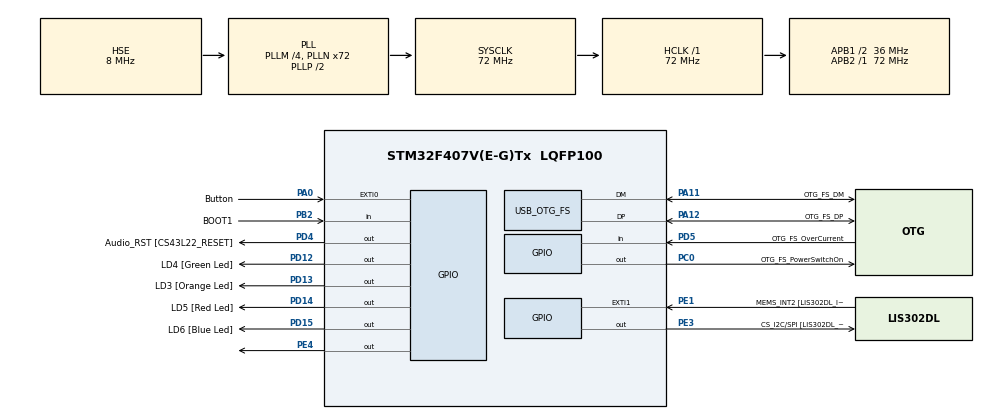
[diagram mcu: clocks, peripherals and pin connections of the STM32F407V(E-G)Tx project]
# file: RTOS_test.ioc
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FREERTOS.Tasks01=defaultTask,24,128,StartDefaultTask,Default,NULL,Dynamic,NULL,NULL;USB,8,128,StartTask02,Default,NULL,Dynamic,NULL,NULL
Mcu.Family=STM32F4
Mcu.Name=STM32F407V(E-G)Tx
Mcu.Package=LQFP100
NVIC.EXTI0_IRQn=true\:0\:0\:false\:false\:true\:false\:true\:true
NVIC.OTG_FS_IRQn=true\:0\:0\:false\:false\:true\:false\:false\:true
NVIC.PriorityGroup=NVIC_PRIORITYGROUP_4
NVIC.TIM6_DAC_IRQn=true\:0\:0\:false\:false\:true\:false\:false\:true
NVIC.TimeBase=TIM6_DAC_IRQn
NVIC.TimeBaseIP=TIM6
PA0-WKUP.GPIO_Label=Button
PA0-WKUP.GPIO_ModeDefaultEXTI=GPIO_MODE_IT_RISING_FALLING
PA0-WKUP.Signal=GPXTI0
PA10.GPIO_Label=OTG_FS_ID
PA10.GPIO_Mode=GPIO_MODE_AF_PP
PA10.GPIO_PuPd=GPIO_NOPULL
PA10.GPIO_Speed=GPIO_SPEED_FREQ_LOW
PA10.Signal=USB_OTG_FS_ID
PA11.GPIO_Label=OTG_FS_DM
PA11.GPIO_Mode=GPIO_MODE_AF_PP
PA11.GPIO_PuPd=GPIO_NOPULL
PA11.GPIO_Speed=GPIO_SPEED_FREQ_LOW
PA11.Mode=Device_Only
PA11.Signal=USB_OTG_FS_DM
PA12.GPIO_Label=OTG_FS_DP
PA12.GPIO_Mode=GPIO_MODE_AF_PP
PA12.GPIO_PuPd=GPIO_NOPULL
PA12.GPIO_Speed=GPIO_SPEED_FREQ_LOW
PA12.Mode=Device_Only
PA12.Signal=USB_OTG_FS_DP
PA13.GPIO_Label=SWDIO
PA13.Signal=SYS_JTMS-SWDIO
PA14.GPIO_Label=SWCLK
PA14.Signal=SYS_JTCK-SWCLK
PA4.GPIO_Label=I2S3_WS [CS43L22_LRCK]
PA4.GPIO_Mode=GPIO_MODE_AF_PP
PA4.GPIO_PuPd=GPIO_NOPULL
PA4.GPIO_Speed=GPIO_SPEED_FREQ_LOW
PA4.Signal=I2S3_WS
PA5.GPIO_Label=SPI1_SCK [LIS302DL_SCL/SPC]
PA5.GPIO_Mode=GPIO_MODE_AF_PP
PA5.GPIO_PuPd=GPIO_NOPULL
PA5.GPIO_Speed=GPIO_SPEED_FREQ_LOW
PA5.Signal=SPI1_SCK
PA6.GPIO_Label=SPI1_MISO [LIS302DL_SDO]
PA6.GPIO_Mode=GPIO_MODE_AF_PP
PA6.GPIO_PuPd=GPIO_NOPULL
PA6.GPIO_Speed=GPIO_SPEED_FREQ_LOW
PA6.Signal=SPI1_MISO
PA7.GPIO_Label=SPI1_MOSI [LIS302DL_SDA/SDI/SDO]
PA7.GPIO_Mode=GPIO_MODE_AF_PP
PA7.GPIO_PuPd=GPIO_NOPULL
PA7.GPIO_Speed=GPIO_SPEED_FREQ_LOW
PA7.Signal=SPI1_MOSI
PA9.GPIO_Label=VBUS_FS
PA9.GPIO_Mode=GPIO_MODE_INPUT
PA9.GPIO_PuPd=GPIO_NOPULL
PA9.Signal=USB_OTG_FS_VBUS
PB10.GPIO_Label=CLK_IN [MP45DT02_CLK]
PB10.GPIO_Mode=GPIO_MODE_AF_PP
PB10.GPIO_PuPd=GPIO_NOPULL
PB10.GPIO_Speed=GPIO_SPEED_FREQ_LOW
PB10.Signal=I2S2_CK
PB2.GPIO_Label=BOOT1
PB2.GPIO_Mode=GPIO_MODE_INPUT
PB2.GPIO_PuPd=GPIO_NOPULL
PB2.Signal=GPIO_Input
PB3.GPIO_Label=SWO
PB3.Signal=SYS_JTDO-SWO
PB6.GPIO_Label=Audio_SCL [CS43L22_SCL]
PB6.GPIO_Mode=GPIO_MODE_AF_OD
PB6.GPIO_PuPd=GPIO_NOPULL
PB6.GPIO_Speed=GPIO_SPEED_FREQ_LOW
PB6.Signal=I2C1_SCL
PB9.GPIO_Label=Audio_SDA [CS43L22_SDA]
PB9.GPIO_Mode=GPIO_MODE_AF_OD
PB9.GPIO_PuPd=GPIO_NOPULL
PB9.GPIO_Speed=GPIO_SPEED_FREQ_LOW
PB9.Signal=I2C1_SDA
PC0.GPIO_Label=OTG_FS_PowerSwitchOn
PC0.GPIO_PuPd=GPIO_NOPULL
PC0.GPIO_Speed=GPIO_SPEED_FREQ_LOW
PC0.PinState=GPIO_PIN_SET
PC0.Signal=GPIO_Output
PC10.GPIO_Label=I2S3_SCK [CS43L22_SCLK]
PC10.GPIO_Mode=GPIO_MODE_AF_PP
PC10.GPIO_PuPd=GPIO_NOPULL
PC10.GPIO_Speed=GPIO_SPEED_FREQ_LOW
PC10.Signal=I2S3_CK
PC12.GPIO_Label=I2S3_SD [CS43L22_SDIN]
PC12.GPIO_Mode=GPIO_MODE_AF_PP
PC12.GPIO_PuPd=GPIO_NOPULL
PC12.GPIO_Speed=GPIO_SPEED_FREQ_LOW
PC12.Signal=I2S3_SD
PC14-OSC32_IN.GPIO_Label=PC14-OSC32_IN
PC14-OSC32_IN.Signal=RCC_OSC32_IN
PC15-OSC32_OUT.GPIO_Label=PC15-OSC32_OUT
PC15-OSC32_OUT.Signal=RCC_OSC32_OUT
PC3.GPIO_Label=PDM_OUT [MP45DT02_DOUT]
PC3.GPIO_Mode=GPIO_MODE_AF_PP
PC3.GPIO_PuPd=GPIO_NOPULL
PC3.GPIO_Speed=GPIO_SPEED_FREQ_LOW
PC3.Signal=I2S2_SD
PC7.GPIO_Label=I2S3_MCK [CS43L22_MCLK]
PC7.GPIO_Mode=GPIO_MODE_AF_PP
PC7.GPIO_PuPd=GPIO_NOPULL
PC7.GPIO_Speed=GPIO_SPEED_FREQ_LOW
PC7.Signal=I2S3_MCK
PD12.GPIO_Label=LD4 [Green Led]
PD12.GPIO_PuPd=GPIO_NOPULL
PD12.GPIO_Speed=GPIO_SPEED_FREQ_LOW
PD12.Signal=GPIO_Output
PD13.GPIO_Label=LD3 [Orange Led]
PD13.GPIO_PuPd=GPIO_NOPULL
PD13.GPIO_Speed=GPIO_SPEED_FREQ_LOW
PD13.Signal=GPIO_Output
PD14.GPIO_Label=LD5 [Red Led]
PD14.GPIO_PuPd=GPIO_NOPULL
PD14.GPIO_Speed=GPIO_SPEED_FREQ_LOW
PD14.Signal=GPIO_Output
PD15.GPIO_Label=LD6 [Blue Led]
PD15.GPIO_PuPd=GPIO_NOPULL
PD15.GPIO_Speed=GPIO_SPEED_FREQ_LOW
PD15.Signal=GPIO_Output
PD4.GPIO_Label=Audio_RST [CS43L22_RESET]
PD4.GPIO_PuPd=GPIO_NOPULL
PD4.GPIO_Speed=GPIO_SPEED_FREQ_LOW
PD4.Signal=GPIO_Output
PD5.GPIO_Label=OTG_FS_OverCurrent
PD5.GPIO_Mode=GPIO_MODE_INPUT
PD5.GPIO_PuPd=GPIO_NOPULL
PD5.Signal=GPIO_Input
PE1.GPIO_Label=MEMS_INT2 [LIS302DL_INT2]
PE1.GPIO_ModeDefaultEXTI=GPIO_MODE_EVT_RISING
PE1.GPIO_PuPd=GPIO_NOPULL
PE1.Signal=GPXTI1
PE3.GPIO_Label=CS_I2C/SPI [LIS302DL_CS_I2C/SPI]
PE3.GPIO_PuPd=GPIO_NOPULL
PE3.GPIO_Speed=GPIO_SPEED_FREQ_LOW
PE3.Signal=GPIO_Output
PE4.Signal=GPIO_Output
PH0-OSC_IN.GPIO_Label=PH0-OSC_IN
PH0-OSC_IN.Mode=HSE-External-Oscillator
PH0-OSC_IN.Signal=RCC_OSC_IN
PH1-OSC_OUT.GPIO_Label=PH1-OSC_OUT
PH1-OSC_OUT.Mode=HSE-External-Oscillator
PH1-OSC_OUT.Signal=RCC_OSC_OUT
ProjectManager.HeapSize=0x200
ProjectManager.StackSize=0x400
ProjectManager.TargetToolchain=STM32CubeIDE
RCC.48MHZClocksFreq_Value=48000000
RCC.AHBFreq_Value=72000000
RCC.APB1CLKDivider=RCC_HCLK_DIV2
RCC.APB1Freq_Value=36000000
RCC.APB1TimFreq_Value=72000000
RCC.APB2Freq_Value=72000000
RCC.APB2TimFreq_Value=72000000
RCC.CortexFreq_Value=72000000
RCC.HCLKFreq_Value=72000000
RCC.HSE_VALUE=8000000
RCC.HSI_VALUE=16000000
RCC.LSE_VALUE=32768
RCC.PLLM=4
RCC.PLLN=72
RCC.PLLQ=3
RCC.SYSCLKFreq_VALUE=72000000
RCC.SYSCLKSource=RCC_SYSCLKSOURCE_PLLCLK
RCC.VCOOutputFreq_Value=144000000
USB_DEVICE.CLASS_NAME_FS=CDC
USB_DEVICE.VirtualMode-CDC_FS=Cdc
USB_DEVICE.VirtualModeFS=Cdc_FS
USB_OTG_FS.VirtualMode=Device_Only
VP_FREERTOS_VS_CMSIS_V2.Mode=CMSIS_V2
VP_SYS_VS_tim6.Mode=TIM6
VP_USB_DEVICE_VS_USB_DEVICE_CDC_FS.Mode=CDC_FS
board=STM32F407G-DISC1

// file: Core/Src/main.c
/* USER CODE BEGIN Header */
/**
  ******************************************************************************
  * @file           : main.c
  * @brief          : Main program body
  ******************************************************************************
  * @attention
  *
  * <h2><center>&copy; Copyright (c) 2020 STMicroelectronics.
  * All rights reserved.</center></h2>
  *
  * This software component is licensed by ST under BSD 3-Clause license,
  * the "License"; You may not use this file except in compliance with the
  * License. You may obtain a copy of the License at:
  *                        opensource.org/licenses/BSD-3-Clause
  *
  ******************************************************************************
  */
/* USER CODE END Header */
#include "main.h"
#include "cmsis_os.h"
#include "usb_device.h"
#include "gpio.h"

/* USER CODE BEGIN Includes */
#include "usbd_cdc_if.h"

/* USER CODE END Includes */

/* USER CODE BEGIN PV */
uint8_t DataToSend[40]; // Tablica zawierajaca dane do wyslania
uint8_t MessageCounter = 0; // Licznik wyslanych wiadomosci
uint8_t MessageLength = 0; // Zawiera dlugosc wysylanej wiadomosci

uint8_t ReceivedData[40]; // Tablica przechowujaca odebrane dane
uint8_t ReceivedDataFlag = 0; // Flaga informujaca o odebraniu danych
/* USER CODE END PV */

void SystemClock_Config(void);
void MX_FREERTOS_Init(void);
/* USER CODE BEGIN PFP */
void HAL_GPIO_EXTI_Callback(uint16_t GPIO_Pin){
	if(GPIO_Pin == Button_Pin){
		HAL_GPIO_WritePin(LD6_GPIO_Port, LD6_Pin, HAL_GPIO_ReadPin(Button_GPIO_Port, Button_Pin));
	}
}
/* USER CODE END PFP */

int main(void)
{

  /* MCU Configuration--------------------------------------------------------*/

  /* Reset of all peripherals, Initializes the Flash interface and the Systick. */
  HAL_Init();

  /* Configure the system clock */
  SystemClock_Config();

  /* Initialize all configured peripherals */
  MX_GPIO_Init();

  /* Init scheduler */
  osKernelInitialize();  /* Call init function for freertos objects (in freertos.c) */
  MX_FREERTOS_Init();
  /* Start scheduler */
  osKernelStart();

  /* We should never get here as control is now taken by the scheduler */
  /* Infinite loop */
  while (1)
  {

    /* USER CODE BEGIN 3 */
	  /*if (HAL_GPIO_ReadPin(Button_GPIO_Port, Button_Pin) == GPIO_PIN_SET) {
	  		HAL_Delay(100);
	  		if (HAL_GPIO_ReadPin(Button_GPIO_Port, Button_Pin)	== GPIO_PIN_SET) {

	  			++MessageCounter;
	  			MessageLength = sprintf(DataToSend, "Wiadomosc nr %d\n\r", MessageCounter);
	  			CDC_Transmit_FS(DataToSend, MessageLength);
	  		}
	  }
	  if(ReceivedDataFlag == 1){
	  	ReceivedDataFlag = 0;

	  	MessageLength = sprintf(DataToSend, "Odebrano: %s\n\r", ReceivedData);
	  	CDC_Transmit_FS(DataToSend, MessageLength);
	  }*/

  }
  /* USER CODE END 3 */
}

void SystemClock_Config(void)
{
  RCC_OscInitTypeDef RCC_OscInitStruct = {0};
  RCC_ClkInitTypeDef RCC_ClkInitStruct = {0};

  /** Configure the main internal regulator output voltage
  */
  __HAL_RCC_PWR_CLK_ENABLE();
  __HAL_PWR_VOLTAGESCALING_CONFIG(PWR_REGULATOR_VOLTAGE_SCALE1);
  /** Initializes the RCC Oscillators according to the specified parameters
  * in the RCC_OscInitTypeDef structure.
  */
  RCC_OscInitStruct.OscillatorType = RCC_OSCILLATORTYPE_HSE;
  RCC_OscInitStruct.HSEState = RCC_HSE_ON;
  RCC_OscInitStruct.PLL.PLLState = RCC_PLL_ON;
  RCC_OscInitStruct.PLL.PLLSource = RCC_PLLSOURCE_HSE;
  RCC_OscInitStruct.PLL.PLLM = 4;
  RCC_OscInitStruct.PLL.PLLN = 72;
  RCC_OscInitStruct.PLL.PLLP = RCC_PLLP_DIV2;
  RCC_OscInitStruct.PLL.PLLQ = 3;
  if (HAL_RCC_OscConfig(&RCC_OscInitStruct) != HAL_OK)
  {
    Error_Handler();
  }
  /** Initializes the CPU, AHB and APB buses clocks
  */
  RCC_ClkInitStruct.ClockType = RCC_CLOCKTYPE_HCLK|RCC_CLOCKTYPE_SYSCLK
                              |RCC_CLOCKTYPE_PCLK1|RCC_CLOCKTYPE_PCLK2;
  RCC_ClkInitStruct.SYSCLKSource = RCC_SYSCLKSOURCE_PLLCLK;
  RCC_ClkInitStruct.AHBCLKDivider = RCC_SYSCLK_DIV1;
  RCC_ClkInitStruct.APB1CLKDivider = RCC_HCLK_DIV2;
  RCC_ClkInitStruct.APB2CLKDivider = RCC_HCLK_DIV1;

  if (HAL_RCC_ClockConfig(&RCC_ClkInitStruct, FLASH_LATENCY_2) != HAL_OK)
  {
    Error_Handler();
  }
}

void HAL_TIM_PeriodElapsedCallback(TIM_HandleTypeDef *htim)
{
  if (htim->Instance == TIM6) {
    HAL_IncTick();
  }
}

void Error_Handler(void)
{
}

/************************ (C) COPYRIGHT STMicroelectronics *****END OF FILE****/

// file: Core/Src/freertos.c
/* USER CODE BEGIN Header */
/**
  ******************************************************************************
  * File Name          : freertos.c
  * Description        : Code for freertos applications
  ******************************************************************************
  * @attention
  *
  * <h2><center>&copy; Copyright (c) 2020 STMicroelectronics.
  * All rights reserved.</center></h2>
  *
  * This software component is licensed by ST under Ultimate Liberty license
  * SLA0044, the "License"; You may not use this file except in compliance with
  * the License. You may obtain a copy of the License at:
  *                             www.st.com/SLA0044
  *
  ******************************************************************************
  */
/* USER CODE END Header */

#include "FreeRTOS.h"
#include "task.h"
#include "main.h"
#include "cmsis_os.h"

/* Definitions for defaultTask */
osThreadId_t defaultTaskHandle;
const osThreadAttr_t defaultTask_attributes = {
  .name = "defaultTask",
  .priority = (osPriority_t) osPriorityNormal,
  .stack_size = 128 * 4
};
/* Definitions for USB */
osThreadId_t USBHandle;
const osThreadAttr_t USB_attributes = {
  .name = "USB",
  .priority = (osPriority_t) osPriorityLow,
  .stack_size = 128 * 4
};

void StartDefaultTask(void *argument);
void StartTask02(void *argument);

extern void MX_USB_DEVICE_Init(void);
void MX_FREERTOS_Init(void); /* (MISRA C 2004 rule 8.1) */

void MX_FREERTOS_Init(void) {

  /* Create the thread(s) */
  /* creation of defaultTask */
  defaultTaskHandle = osThreadNew(StartDefaultTask, NULL, &defaultTask_attributes);

  /* creation of USB */
  USBHandle = osThreadNew(StartTask02, NULL, &USB_attributes);

}

void StartDefaultTask(void *argument)
{
  /* init code for USB_DEVICE */
  MX_USB_DEVICE_Init();
  /* USER CODE BEGIN StartDefaultTask */
  /* Infinite loop */
  for(;;)
  	  {
  		  HAL_GPIO_TogglePin(LD4_GPIO_Port, LD4_Pin);
  		  osDelay(500);
  	  }
  /* USER CODE END StartDefaultTask */
}

void StartTask02(void *argument)
{
  /* USER CODE BEGIN StartTask02 */
  /* Infinite loop */
	  extern uint8_t MessageCounter;
	  extern uint8_t MessageLength;
	  extern uint8_t DataToSend[40];
	  for(;;)
	  {
		  if (HAL_GPIO_ReadPin(Button_GPIO_Port, Button_Pin) == GPIO_PIN_SET) {
	  	  		osDelay(100);
	  		  		if (HAL_GPIO_ReadPin(Button_GPIO_Port, Button_Pin)	== GPIO_PIN_SET) {
	  	  	  			++MessageCounter;
	  	  	  			MessageLength = sprintf(DataToSend, "Wiadomosc nr %d\n\r", MessageCounter);
	  	  	  			CDC_Transmit_FS(DataToSend, MessageLength);
	  	  	  		}
	  	  	  }
	    }
  /* USER CODE END StartTask02 */
}

/************************ (C) COPYRIGHT STMicroelectronics *****END OF FILE****/
